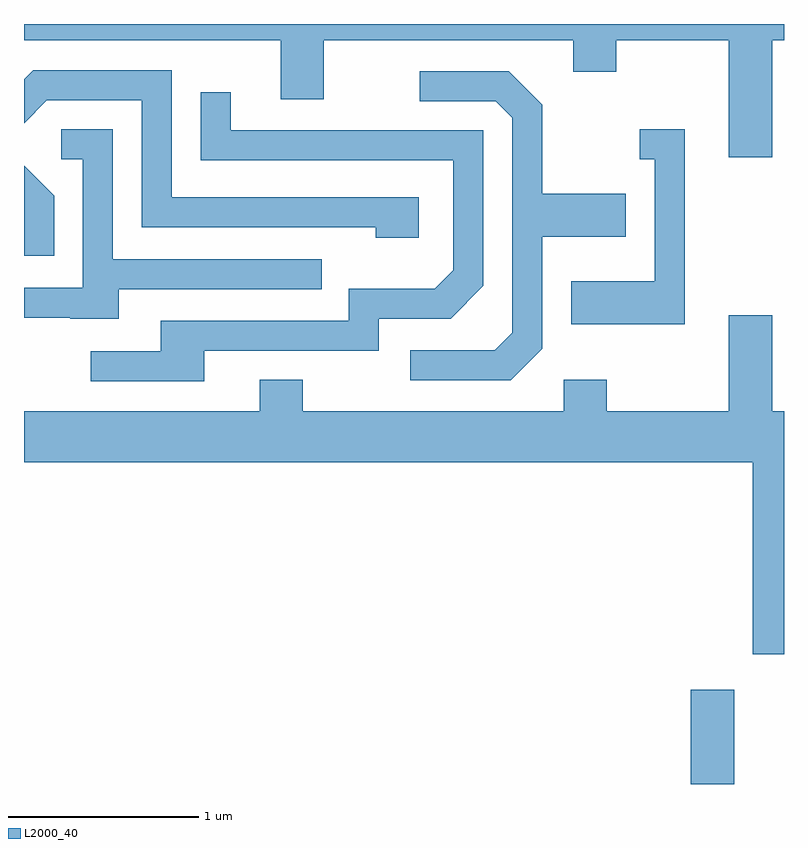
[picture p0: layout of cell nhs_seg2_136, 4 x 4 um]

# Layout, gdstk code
import gdstk
lib = gdstk.Library(unit=1e-6, precision=1e-09)
def R(c, l, rs):  # rectangles x0, y0, x1, y1
    for r in rs: c.add(gdstk.rectangle(r[:2], r[2:], *l))
def P(c, l, *ps):  # polygons
    for p in ps: c.add(gdstk.Polygon(p, *l))
L2000_40 = (2000, 40)

nhs_seg2_136 = lib.new_cell('nhs_seg2_136')
R(nhs_seg2_136, L2000_40, [(193.121,977.802,193.349,978.299)])
P(nhs_seg2_136, L2000_40, [(193.549,981.716),(193.611,981.716),(193.611,981.802),(189.611,981.802),(189.611,981.716),(190.961,981.716),(190.961,981.406),(191.189,981.406),(191.189,981.716),(192.501,981.716),(192.501,981.551),(192.729,981.551),(192.729,981.716),(193.321,981.716),(193.321,981.101),(193.549,981.101)],
  [(191.689,980.889),(190.389,980.889),(190.389,981.559),(189.659,981.559),(189.611,981.511),(189.611,981.28),(189.732,981.401),(190.231,981.401),(190.231,980.731),(191.461,980.731),(191.461,980.676),(191.689,980.676)],
  [(192.339,980.094),(192.339,980.681),(192.779,980.681),(192.779,980.909),(192.339,980.909),(192.339,981.377),(192.162,981.554),(191.693,981.554),(191.693,981.396),(192.094,981.396),(192.181,981.309),(192.181,980.177),(192.089,980.084),(191.643,980.084),(191.643,979.926),(192.172,979.926)],
  [(190.559,980.081),(191.479,980.081),(191.479,980.251),(191.857,980.251),(192.029,980.424),(192.029,981.244),(190.699,981.244),(190.699,981.443),(190.541,981.443),(190.541,981.086),(191.871,981.086),(191.871,980.507),(191.774,980.409),(191.321,980.409),(191.321,980.239),(190.331,980.239),(190.331,980.079),(189.963,980.079),(189.963,979.921),(190.559,979.921)],
  [(193.089,981.249),(192.853,981.249),(192.853,981.091),(192.931,981.091),(192.931,980.449),(192.491,980.449),(192.491,980.221),(193.089,980.221)],
  [(190.109,980.406),(191.178,980.406),(191.178,980.564),(190.079,980.564),(190.079,981.249),(189.808,981.249),(189.808,981.091),(189.921,981.091),(189.921,980.414),(189.611,980.414),(189.611,980.256),(189.855,980.256),(189.855,980.251),(190.109,980.251)],
  [(189.769,980.897),(189.611,981.055),(189.611,980.583),(189.769,980.583)],
  [(193.611,979.764),(193.549,979.764),(193.549,980.269),(193.321,980.269),(193.321,979.764),(192.679,979.764),(192.679,979.929),(192.451,979.929),(192.451,979.764),(191.079,979.764),(191.079,979.929),(190.851,979.929),(190.851,979.764),(189.611,979.764),(189.611,979.496),(193.446,979.496),(193.446,978.486),(193.611,978.486)])

lib.write_gds('nhs_seg2_136.gds')
